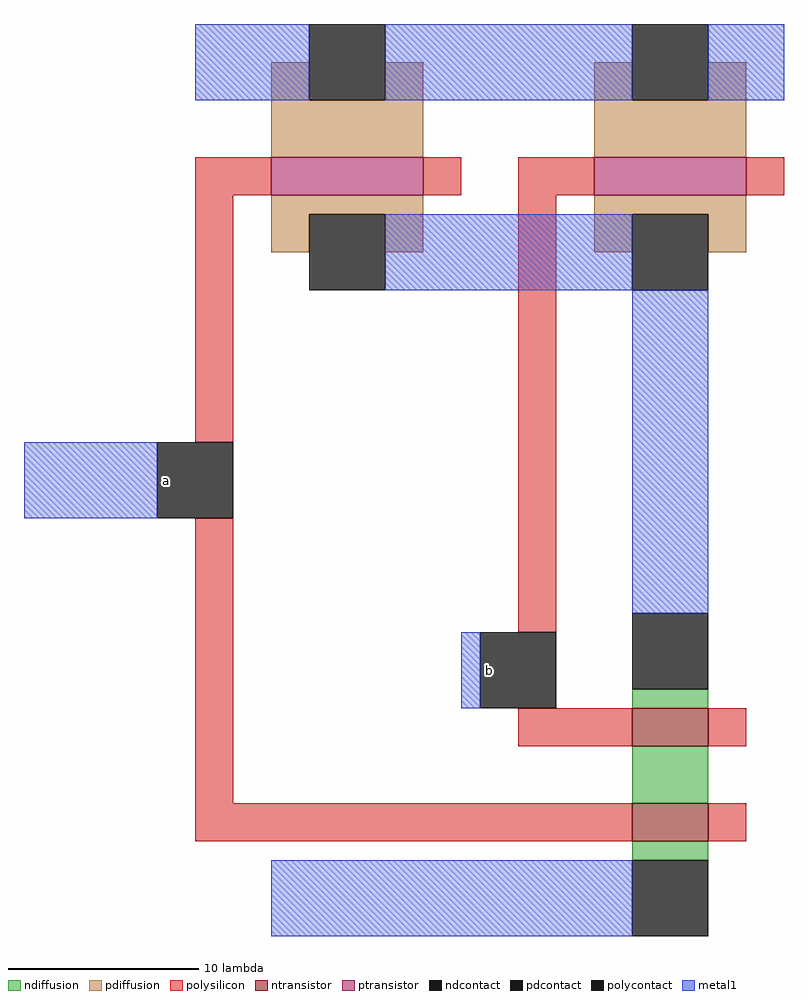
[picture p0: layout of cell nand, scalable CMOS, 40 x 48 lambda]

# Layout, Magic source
magic
tech scmos
<< ntransistor >>
rect 13 0 17 2
rect 13 -5 17 -3
<< ptransistor >>
rect -6 29 2 31
rect 11 29 19 31
<< ndiffusion >>
rect 13 2 17 3
rect 13 -3 17 0
rect 13 -6 17 -5
<< pdiffusion >>
rect -6 34 -4 36
rect 0 34 2 36
rect -6 31 2 34
rect 11 34 13 36
rect 17 34 19 36
rect 11 31 19 34
rect -6 28 2 29
rect -6 26 -4 28
rect 0 26 2 28
rect 11 28 19 29
rect 11 26 13 28
rect 17 26 19 28
<< ndcontact >>
rect 13 3 17 7
rect 13 -10 17 -6
<< pdcontact >>
rect -4 34 0 38
rect 13 34 17 38
rect -4 24 0 28
rect 13 24 17 28
<< polysilicon >>
rect -10 29 -6 31
rect 2 29 4 31
rect 7 29 11 31
rect 19 29 21 31
rect -10 16 -8 29
rect -10 -3 -8 12
rect 7 6 9 29
rect 7 0 13 2
rect 17 0 19 2
rect -10 -5 13 -3
rect 17 -5 19 -3
<< polycontact >>
rect -12 12 -8 16
rect 5 2 9 6
<< metal1 >>
rect -10 34 -4 38
rect 0 34 13 38
rect 17 34 21 38
rect 0 24 13 28
rect -19 12 -12 16
rect 13 7 17 24
rect 4 2 5 6
rect -6 -10 13 -6
<< labels >>
rlabel polycontact 5 3 6 5 1 b
rlabel polycontact -12 13 -11 15 3 a
<< end >>
